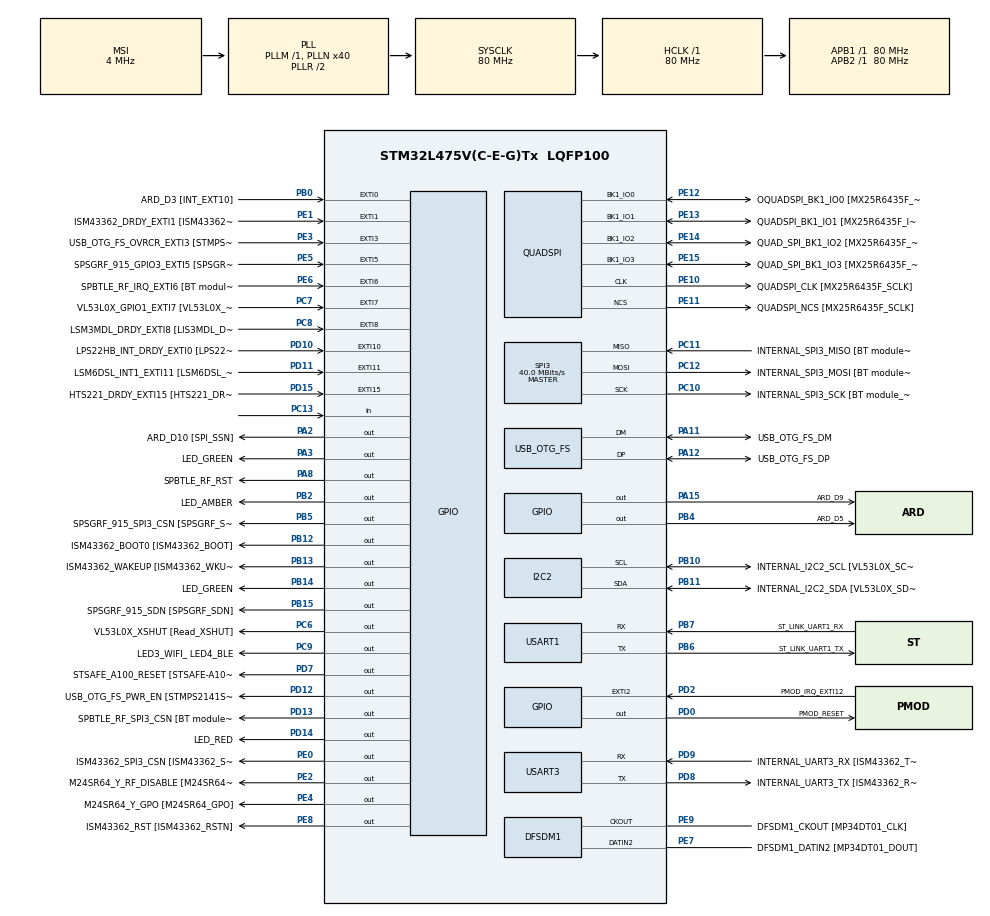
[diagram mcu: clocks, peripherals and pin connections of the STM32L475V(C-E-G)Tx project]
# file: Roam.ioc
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Mcu.Family=STM32L4
Mcu.Name=STM32L475V(C-E-G)Tx
Mcu.Package=LQFP100
NVIC.EXTI15_10_IRQn=true\:0\:0\:false\:false\:true\:true\:true\:true
NVIC.EXTI9_5_IRQn=true\:0\:0\:false\:false\:true\:true\:true\:true
NVIC.PriorityGroup=NVIC_PRIORITYGROUP_4
PA0.GPIO_Label=ARD_D1 [UART4_TX]
PA0.Signal=UART4_TX
PA1.GPIO_Label=ARD_D0 [UART4_RX]
PA1.Signal=UART4_RX
PA10.GPIO_Label=USB_OTG_FS_ID
PA10.Signal=USB_OTG_FS_ID
PA11.GPIO_Label=USB_OTG_FS_DM
PA11.Mode=Device_Only
PA11.Signal=USB_OTG_FS_DM
PA12.GPIO_Label=USB_OTG_FS_DP
PA12.Mode=Device_Only
PA12.Signal=USB_OTG_FS_DP
PA13\ (JTMS-SWDIO).GPIO_Label=SYS_JTMS_SWDIO
PA13\ (JTMS-SWDIO).Mode=Serial_Wire
PA13\ (JTMS-SWDIO).Signal=SYS_JTMS-SWDIO
PA14\ (JTCK-SWCLK).GPIO_Label=SYS_JTCK_SWCLK
PA14\ (JTCK-SWCLK).Mode=Serial_Wire
PA14\ (JTCK-SWCLK).Signal=SYS_JTCK-SWCLK
PA15\ (JTDI).GPIO_Label=ARD_D9
PA15\ (JTDI).Signal=GPIO_Output
PA2.GPIO_Label=ARD_D10 [SPI_SSN]
PA2.Signal=GPIO_Output
PA3.GPIO_Label=LED_GREEN
PA3.Signal=GPIO_Output
PA4.GPIO_Label=ARD_D7
PA4.Signal=ADCx_IN9
PA5.GPIO_Label=ARD_D13 [SPI1_SCK]
PA5.Signal=SPI1_SCK
PA6.GPIO_Label=ARD_D12 [SPI1_MISO]
PA6.Signal=SPI1_MISO
PA7.GPIO_Label=ARD_D11 [SPI1_MOSI]
PA7.Signal=SPI1_MOSI
PA8.GPIO_Label=SPBTLE_RF_RST
PA8.Signal=GPIO_Output
PA9.GPIO_Label=USB_OTG_FS_VBUS [STMPS2141STR_OUT]
PA9.Signal=USB_OTG_FS_VBUS
PB0.GPIO_Label=ARD_D3 [INT_EXT10]
PB0.Signal=GPXTI0
PB1.GPIO_Label=ARD_D6 [ADC1_IN6]
PB1.Signal=ADCx_IN16
PB10.GPIO_Label=INTERNAL_I2C2_SCL [VL53L0X_SCL]
PB10.GPIO_Pu=GPIO_PULLUP
PB10.Mode=I2C
PB10.Signal=I2C2_SCL
PB11.GPIO_Label=INTERNAL_I2C2_SDA [VL53L0X_SDA]
PB11.GPIO_Pu=GPIO_PULLUP
PB11.Mode=I2C
PB11.Signal=I2C2_SDA
PB12.GPIO_Label=ISM43362_BOOT0 [ISM43362_BOOT]
PB12.Signal=GPIO_Output
PB13.GPIO_Label=ISM43362_WAKEUP [ISM43362_WKUP]
PB13.Signal=GPIO_Output
PB14.GPIO_Label=LED_GREEN
PB14.Signal=GPIO_Output
PB15.GPIO_Label=SPSGRF_915_SDN [SPSGRF_SDN]
PB15.Signal=GPIO_Output
PB2.GPIO_Label=LED_AMBER
PB2.Signal=GPIO_Output
PB3\ (JTDO-TRACESWO).GPIO_Label=SYS_JTD0_SWO
PB3\ (JTDO-TRACESWO).Signal=SYS_JTDO-SWO
PB4\ (NJTRST).GPIO_Label=ARD_D5
PB4\ (NJTRST).Signal=GPIO_Output
PB5.GPIO_Label=SPSGRF_915_SPI3_CSN [SPSGRF_SPI_CS]
PB5.PinState=GPIO_PIN_SET
PB5.Signal=GPIO_Output
PB6.GPIO_Label=ST_LINK_UART1_TX
PB6.Mode=Asynchronous
PB6.Signal=USART1_TX
PB7.GPIO_Label=ST_LINK_UART1_RX
PB7.Mode=Asynchronous
PB7.Signal=USART1_RX
PB8.GPIO_Label=ARD_D15 [I2C1_SCL]
PB8.Signal=I2C1_SCL
PB9.GPIO_Label=ARD_D14 [I2C1_SDA]
PB9.Signal=I2C1_SDA
PC0.GPIO_Label=ARD_A5 [ADC]
PC0.Signal=ADCx_IN1
PC1.GPIO_Label=ARD_A4 [ADC]
PC1.Signal=ADCx_IN2
PC10.GPIO_Label=INTERNAL_SPI3_SCK [BT module_SPI_SCLK] [ISM43362_SCK]
PC10.Mode=Full_Duplex_Master
PC10.Signal=SPI3_SCK
PC11.GPIO_Label=INTERNAL_SPI3_MISO [BT module_SPI_MISO] [ISM43362_MISO]
PC11.Mode=Full_Duplex_Master
PC11.Signal=SPI3_MISO
PC12.GPIO_Label=INTERNAL_SPI3_MOSI [BT module_SPI_MOSI] [ISM43362_MOSI]
PC12.Mode=Full_Duplex_Master
PC12.Signal=SPI3_MOSI
PC13.Signal=GPIO_Input
PC14-OSC32_IN\ (PC14).Mode=LSE-External-Oscillator
PC14-OSC32_IN\ (PC14).Signal=RCC_OSC32_IN
PC15-OSC32_OUT\ (PC15).Mode=LSE-External-Oscillator
PC15-OSC32_OUT\ (PC15).Signal=RCC_OSC32_OUT
PC2.GPIO_Label=ARD_A3 [ADC]
PC2.Signal=ADCx_IN3
PC3.GPIO_Label=ARD_A2 [ADC]
PC3.Signal=ADCx_IN4
PC4.GPIO_Label=ARD_A1 [ADC]
PC4.Signal=ADCx_IN13
PC5.GPIO_Label=ARD_A0 [ADC]
PC5.Signal=ADCx_IN14
PC6.GPIO_Label=VL53L0X_XSHUT [Read_XSHUT]
PC6.Signal=GPIO_Output
PC7.GPIO_Label=VL53L0X_GPIO1_EXTI7 [VL53L0X_GPIO1]
PC7.Signal=GPXTI7
PC8.GPIO_Label=LSM3MDL_DRDY_EXTI8 [LIS3MDL_DRDY]
PC8.Signal=GPXTI8
PC9.GPIO_Label=LED3_WIFI_ LED4_BLE
PC9.Signal=GPIO_Output
PD0.GPIO_Label=PMOD_RESET
PD0.Signal=GPIO_Output
PD1.GPIO_Label=PMOD_SPI2_SCK
PD1.Signal=SPI2_SCK
PD10.GPIO_Label=LPS22HB_INT_DRDY_EXTI0 [LPS22HB_INT_DRDY] 
PD10.Signal=GPXTI10
PD11.GPIO_Label=LSM6DSL_INT1_EXTI11 [LSM6DSL_INT1]
PD11.Signal=GPXTI11
PD12.GPIO_Label=USB_OTG_FS_PWR_EN [STMPS2141STR_EN]
PD12.Signal=GPIO_Output
PD13.GPIO_Label=SPBTLE_RF_SPI3_CSN [BT module_SPI_CS]
PD13.PinState=GPIO_PIN_SET
PD13.Signal=GPIO_Output
PD14.GPIO_Label=LED_RED
PD14.Signal=GPIO_Output
PD15.GPIO_Label=HTS221_DRDY_EXTI15 [HTS221_DRDY]
PD15.Signal=GPXTI15
PD2.GPIO_Label=PMOD_IRQ_EXTI12
PD2.Signal=GPXTI2
PD3.GPIO_Label=PMOD_UART2_CTS
PD3.Signal=USART2_CTS
PD4.GPIO_Label=PMOD_UART2_RTS
PD4.Signal=USART2_RTS
PD5.GPIO_Label=PMOD_UART2_TX
PD5.Signal=USART2_TX
PD6.GPIO_Label=PMOD_UART2_RX
PD6.Signal=USART2_RX
PD7.GPIO_Label=STSAFE_A100_RESET [STSAFE-A100_RESET]
PD7.Signal=GPIO_Output
PD8.GPIO_Label=INTERNAL_UART3_TX [ISM43362_RX]
PD8.Mode=Asynchronous
PD8.Signal=USART3_TX
PD9.GPIO_Label=INTERNAL_UART3_RX [ISM43362_TX]
PD9.Mode=Asynchronous
PD9.Signal=USART3_RX
PE0.GPIO_Label=ISM43362_SPI3_CSN [ISM43362_SSN]
PE0.PinState=GPIO_PIN_SET
PE0.Signal=GPIO_Output
PE1.GPIO_Label=ISM43362_DRDY_EXTI1 [ISM43362_DATARDY]
PE1.Signal=GPXTI1
PE10.GPIO_Label=QUADSPI_CLK [MX25R6435F_SCLK]
PE10.Mode=Single Bank
PE10.Signal=QUADSPI_CLK
PE11.GPIO_Label=QUADSPI_NCS [MX25R6435F_SCLK]
PE11.Mode=Single Bank
PE11.Signal=QUADSPI_NCS
PE12.GPIO_Label=OQUADSPI_BK1_IO0 [MX25R6435F_IO0]
PE12.Mode=Single Bank
PE12.Signal=QUADSPI_BK1_IO0
PE13.GPIO_Label=QUADSPI_BK1_IO1 [MX25R6435F_IO1]
PE13.Mode=Single Bank
PE13.Signal=QUADSPI_BK1_IO1
PE14.GPIO_Label=QUAD_SPI_BK1_IO2 [MX25R6435F_IO2]
PE14.Mode=Single Bank
PE14.Signal=QUADSPI_BK1_IO2
PE15.GPIO_Label=QUAD_SPI_BK1_IO3 [MX25R6435F_IO3]
PE15.Mode=Single Bank
PE15.Signal=QUADSPI_BK1_IO3
PE2.GPIO_Label=M24SR64_Y_RF_DISABLE [M24SR64_RFDIS]
PE2.Signal=GPIO_Output
PE3.GPIO_Label=USB_OTG_FS_OVRCR_EXTI3 [STMPS2141STR_FAULT]
PE3.Signal=GPXTI3
PE4.GPIO_Label=M24SR64_Y_GPO [M24SR64_GPO]
PE4.Signal=GPIO_Output
PE5.GPIO_Label=SPSGRF_915_GPIO3_EXTI5 [SPSGRF_GPIO_3]
PE5.Signal=GPXTI5
PE6.GPIO_Label=SPBTLE_RF_IRQ_EXTI6 [BT module_SPI_IRQ]
PE6.Signal=GPXTI6
PE7.GPIO_Label=DFSDM1_DATIN2 [MP34DT01_DOUT]
PE7.Signal=S_DATAIN2DFSDM1
PE8.GPIO_Label=ISM43362_RST [ISM43362_RSTN]
PE8.Signal=GPIO_Output
PE9.GPIO_Label=DFSDM1_CKOUT [MP34DT01_CLK]
PE9.Signal=S_CKOUTDFSDM1
ProjectManager.HeapSize=0x200
ProjectManager.StackSize=0x400
ProjectManager.TargetToolchain=STM32CubeIDE
QUADSPI.ClockPrescaler=2
QUADSPI.FifoThreshold=4
QUADSPI.FlashSize=23
QUADSPI.SampleShifting=QSPI_SAMPLE_SHIFTING_HALFCYCLE
RCC.ADCFreq_Value=48000000
RCC.AHBFreq_Value=80000000
RCC.APB1Freq_Value=80000000
RCC.APB1TimFreq_Value=80000000
RCC.APB2Freq_Value=80000000
RCC.APB2TimFreq_Value=80000000
RCC.CortexFreq_Value=80000000
RCC.HCLKFreq_Value=80000000
RCC.HSE_VALUE=8000000
RCC.HSI_VALUE=16000000
RCC.MSI_VALUE=4000000
RCC.PLLN=40
RCC.PLLSAI1N=24
RCC.SYSCLKFreq_VALUE=80000000
RCC.SYSCLKSource=RCC_SYSCLKSOURCE_PLLCLK
RCC.USBFreq_Value=48000000
RCC.VCOOutputFreq_Value=160000000
SH.ADCx_IN1.0=ADC1_IN1
SH.ADCx_IN13.0=ADC1_IN13
SH.ADCx_IN14.0=ADC1_IN14
SH.ADCx_IN16.0=ADC1_IN16
SH.ADCx_IN2.0=ADC1_IN2
SH.ADCx_IN3.0=ADC1_IN3
SH.ADCx_IN4.0=ADC1_IN4
SH.ADCx_IN9.0=ADC1_IN9
SH.S_CKOUTDFSDM1.0=DFSDM1_CKOUT,CKOUT
SH.S_CKOUTDFSDM1.1=DFSDM1_CKOUT,PDM_SPI_Input_from_ch12_and_Internal_Clock
SH.S_DATAIN2DFSDM1.0=DFSDM1_DATIN2,PDM_SPI_Input_from_ch12_and_Internal_Clock
SPI3.CalculateBaudRate=40.0 MBits/s
SPI3.Direction=SPI_DIRECTION_2LINES
SPI3.Mode=SPI_MODE_MASTER
SPI3.VirtualType=VM_MASTER
USART1.VirtualMode-Asynchronous=VM_ASYNC
USART3.VirtualMode-Asynchronous=VM_ASYNC
USB_OTG_FS.VirtualMode=Device_Only
board=B-L475E-IOT01A1

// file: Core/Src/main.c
/* USER CODE BEGIN Header */
/**
  ******************************************************************************
  * @file           : main.c
  * @brief          : Main program body
  ******************************************************************************
  * @attention
  *
  * Copyright (c) 2026 STMicroelectronics.
  * All rights reserved.
  *
  * This software is licensed under terms that can be found in the LICENSE file
  * in the root directory of this software component.
  * If no LICENSE file comes with this software, it is provided AS-IS.
  *
  ******************************************************************************
  */
/* USER CODE END Header */
#include "main.h"

/* USER CODE BEGIN Includes */
#include "uart_log.h"
#include "led_status.h"
#include "button.h"
#include "sys_fsm.h"
/* USER CODE END Includes */

DFSDM_Channel_HandleTypeDef hdfsdm1_channel1;

I2C_HandleTypeDef hi2c2;

QSPI_HandleTypeDef hqspi;

SPI_HandleTypeDef hspi3;

UART_HandleTypeDef huart1;
UART_HandleTypeDef huart3;

PCD_HandleTypeDef hpcd_USB_OTG_FS;

void SystemClock_Config(void);
static void MX_GPIO_Init(void);
static void MX_DFSDM1_Init(void);
static void MX_I2C2_Init(void);
static void MX_QUADSPI_Init(void);
static void MX_SPI3_Init(void);
static void MX_USART1_UART_Init(void);
static void MX_USART3_UART_Init(void);
static void MX_USB_OTG_FS_PCD_Init(void);

int main(void)
{

  /* USER CODE BEGIN 1 */
  /* Configure GPIO LED pins */
  led_gpio_t green = { .port = LED_GREEN_GPIO_Port, .pin = LED_GREEN_Pin };
  led_gpio_t amber = { .port = LED_AMBER_GPIO_Port, .pin = LED_AMBER_Pin };
  led_gpio_t red   = { .port = LED_RED_GPIO_Port,   .pin = LED_RED_Pin   };
  /* USER CODE END 1 */

  /* MCU Configuration--------------------------------------------------------*/

  /* Reset of all peripherals, Initializes the Flash interface and the Systick. */
  HAL_Init();

  /* Configure the system clock */
  SystemClock_Config();

  /* Initialize all configured peripherals */
  MX_GPIO_Init();
  MX_DFSDM1_Init();
  MX_I2C2_Init();
  MX_QUADSPI_Init();
  MX_SPI3_Init();
  MX_USART1_UART_Init();
  MX_USART3_UART_Init();
  MX_USB_OTG_FS_PCD_Init();
  /* USER CODE BEGIN 2 */
  uart_log_init(&huart1);
  led_status_init(&green, &amber, &red);
  button_init(GPIOC, GPIO_PIN_13);
  sys_fsm_init(HAL_GetTick());
  /* USER CODE END 2 */

  /* Infinite loop */
  /* USER CODE BEGIN WHILE */
  while (1)
  {
    uint32_t now = HAL_GetTick();

    button_update(now);
    sys_fsm_update(now);
    led_status_update(now);
    /* USER CODE END WHILE */

  }
}

void SystemClock_Config(void)
{
  RCC_OscInitTypeDef RCC_OscInitStruct = {0};
  RCC_ClkInitTypeDef RCC_ClkInitStruct = {0};

  /** Configure the main internal regulator output voltage
  */
  if (HAL_PWREx_ControlVoltageScaling(PWR_REGULATOR_VOLTAGE_SCALE1) != HAL_OK)
  {
    Error_Handler();
  }

  /** Configure LSE Drive Capability
  */
  HAL_PWR_EnableBkUpAccess();
  __HAL_RCC_LSEDRIVE_CONFIG(RCC_LSEDRIVE_LOW);

  /** Initializes the RCC Oscillators according to the specified parameters
  * in the RCC_OscInitTypeDef structure.
  */
  RCC_OscInitStruct.OscillatorType = RCC_OSCILLATORTYPE_LSE|RCC_OSCILLATORTYPE_MSI;
  RCC_OscInitStruct.LSEState = RCC_LSE_ON;
  RCC_OscInitStruct.MSIState = RCC_MSI_ON;
  RCC_OscInitStruct.MSICalibrationValue = 0;
  RCC_OscInitStruct.MSIClockRange = RCC_MSIRANGE_6;
  RCC_OscInitStruct.PLL.PLLState = RCC_PLL_ON;
  RCC_OscInitStruct.PLL.PLLSource = RCC_PLLSOURCE_MSI;
  RCC_OscInitStruct.PLL.PLLM = 1;
  RCC_OscInitStruct.PLL.PLLN = 40;
  RCC_OscInitStruct.PLL.PLLP = RCC_PLLP_DIV7;
  RCC_OscInitStruct.PLL.PLLQ = RCC_PLLQ_DIV2;
  RCC_OscInitStruct.PLL.PLLR = RCC_PLLR_DIV2;
  if (HAL_RCC_OscConfig(&RCC_OscInitStruct) != HAL_OK)
  {
    Error_Handler();
  }

  /** Initializes the CPU, AHB and APB buses clocks
  */
  RCC_ClkInitStruct.ClockType = RCC_CLOCKTYPE_HCLK|RCC_CLOCKTYPE_SYSCLK
                              |RCC_CLOCKTYPE_PCLK1|RCC_CLOCKTYPE_PCLK2;
  RCC_ClkInitStruct.SYSCLKSource = RCC_SYSCLKSOURCE_PLLCLK;
  RCC_ClkInitStruct.AHBCLKDivider = RCC_SYSCLK_DIV1;
  RCC_ClkInitStruct.APB1CLKDivider = RCC_HCLK_DIV1;
  RCC_ClkInitStruct.APB2CLKDivider = RCC_HCLK_DIV1;

  if (HAL_RCC_ClockConfig(&RCC_ClkInitStruct, FLASH_LATENCY_4) != HAL_OK)
  {
    Error_Handler();
  }

  /** Enable MSI Auto calibration
  */
  HAL_RCCEx_EnableMSIPLLMode();
}

static void MX_DFSDM1_Init(void)
{

  hdfsdm1_channel1.Instance = DFSDM1_Channel1;
  hdfsdm1_channel1.Init.OutputClock.Activation = ENABLE;
  hdfsdm1_channel1.Init.OutputClock.Selection = DFSDM_CHANNEL_OUTPUT_CLOCK_SYSTEM;
  hdfsdm1_channel1.Init.OutputClock.Divider = 2;
  hdfsdm1_channel1.Init.Input.Multiplexer = DFSDM_CHANNEL_EXTERNAL_INPUTS;
  hdfsdm1_channel1.Init.Input.DataPacking = DFSDM_CHANNEL_STANDARD_MODE;
  hdfsdm1_channel1.Init.Input.Pins = DFSDM_CHANNEL_FOLLOWING_CHANNEL_PINS;
  hdfsdm1_channel1.Init.SerialInterface.Type = DFSDM_CHANNEL_SPI_RISING;
  hdfsdm1_channel1.Init.SerialInterface.SpiClock = DFSDM_CHANNEL_SPI_CLOCK_INTERNAL;
  hdfsdm1_channel1.Init.Awd.FilterOrder = DFSDM_CHANNEL_FASTSINC_ORDER;
  hdfsdm1_channel1.Init.Awd.Oversampling = 1;
  hdfsdm1_channel1.Init.Offset = 0;
  hdfsdm1_channel1.Init.RightBitShift = 0x00;
  if (HAL_DFSDM_ChannelInit(&hdfsdm1_channel1) != HAL_OK)
  {
    Error_Handler();
  }

}

static void MX_I2C2_Init(void)
{

  hi2c2.Instance = I2C2;
  hi2c2.Init.Timing = 0x00000E14;
  hi2c2.Init.OwnAddress1 = 0;
  hi2c2.Init.AddressingMode = I2C_ADDRESSINGMODE_7BIT;
  hi2c2.Init.DualAddressMode = I2C_DUALADDRESS_DISABLE;
  hi2c2.Init.OwnAddress2 = 0;
  hi2c2.Init.OwnAddress2Masks = I2C_OA2_NOMASK;
  hi2c2.Init.GeneralCallMode = I2C_GENERALCALL_DISABLE;
  hi2c2.Init.NoStretchMode = I2C_NOSTRETCH_DISABLE;
  if (HAL_I2C_Init(&hi2c2) != HAL_OK)
  {
    Error_Handler();
  }

  /** Configure Analogue filter
  */
  if (HAL_I2CEx_ConfigAnalogFilter(&hi2c2, I2C_ANALOGFILTER_ENABLE) != HAL_OK)
  {
    Error_Handler();
  }

  /** Configure Digital filter
  */
  if (HAL_I2CEx_ConfigDigitalFilter(&hi2c2, 0) != HAL_OK)
  {
    Error_Handler();
  }

}

static void MX_QUADSPI_Init(void)
{

  /* QUADSPI parameter configuration*/
  hqspi.Instance = QUADSPI;
  hqspi.Init.ClockPrescaler = 2;
  hqspi.Init.FifoThreshold = 4;
  hqspi.Init.SampleShifting = QSPI_SAMPLE_SHIFTING_HALFCYCLE;
  hqspi.Init.FlashSize = 23;
  hqspi.Init.ChipSelectHighTime = QSPI_CS_HIGH_TIME_1_CYCLE;
  hqspi.Init.ClockMode = QSPI_CLOCK_MODE_0;
  if (HAL_QSPI_Init(&hqspi) != HAL_OK)
  {
    Error_Handler();
  }

}

static void MX_SPI3_Init(void)
{

  /* SPI3 parameter configuration*/
  hspi3.Instance = SPI3;
  hspi3.Init.Mode = SPI_MODE_MASTER;
  hspi3.Init.Direction = SPI_DIRECTION_2LINES;
  hspi3.Init.DataSize = SPI_DATASIZE_4BIT;
  hspi3.Init.CLKPolarity = SPI_POLARITY_LOW;
  hspi3.Init.CLKPhase = SPI_PHASE_1EDGE;
  hspi3.Init.NSS = SPI_NSS_SOFT;
  hspi3.Init.BaudRatePrescaler = SPI_BAUDRATEPRESCALER_2;
  hspi3.Init.FirstBit = SPI_FIRSTBIT_MSB;
  hspi3.Init.TIMode = SPI_TIMODE_DISABLE;
  hspi3.Init.CRCCalculation = SPI_CRCCALCULATION_DISABLE;
  hspi3.Init.CRCPolynomial = 7;
  hspi3.Init.CRCLength = SPI_CRC_LENGTH_DATASIZE;
  hspi3.Init.NSSPMode = SPI_NSS_PULSE_ENABLE;
  if (HAL_SPI_Init(&hspi3) != HAL_OK)
  {
    Error_Handler();
  }

}

static void MX_USART1_UART_Init(void)
{

  huart1.Instance = USART1;
  huart1.Init.BaudRate = 115200;
  huart1.Init.WordLength = UART_WORDLENGTH_8B;
  huart1.Init.StopBits = UART_STOPBITS_1;
  huart1.Init.Parity = UART_PARITY_NONE;
  huart1.Init.Mode = UART_MODE_TX_RX;
  huart1.Init.HwFlowCtl = UART_HWCONTROL_NONE;
  huart1.Init.OverSampling = UART_OVERSAMPLING_16;
  huart1.Init.OneBitSampling = UART_ONE_BIT_SAMPLE_DISABLE;
  huart1.AdvancedInit.AdvFeatureInit = UART_ADVFEATURE_NO_INIT;
  if (HAL_UART_Init(&huart1) != HAL_OK)
  {
    Error_Handler();
  }

}

static void MX_USART3_UART_Init(void)
{

  huart3.Instance = USART3;
  huart3.Init.BaudRate = 115200;
  huart3.Init.WordLength = UART_WORDLENGTH_8B;
  huart3.Init.StopBits = UART_STOPBITS_1;
  huart3.Init.Parity = UART_PARITY_NONE;
  huart3.Init.Mode = UART_MODE_TX_RX;
  huart3.Init.HwFlowCtl = UART_HWCONTROL_NONE;
  huart3.Init.OverSampling = UART_OVERSAMPLING_16;
  huart3.Init.OneBitSampling = UART_ONE_BIT_SAMPLE_DISABLE;
  huart3.AdvancedInit.AdvFeatureInit = UART_ADVFEATURE_NO_INIT;
  if (HAL_UART_Init(&huart3) != HAL_OK)
  {
    Error_Handler();
  }

}

static void MX_USB_OTG_FS_PCD_Init(void)
{

  hpcd_USB_OTG_FS.Instance = USB_OTG_FS;
  hpcd_USB_OTG_FS.Init.dev_endpoints = 6;
  hpcd_USB_OTG_FS.Init.speed = PCD_SPEED_FULL;
  hpcd_USB_OTG_FS.Init.phy_itface = PCD_PHY_EMBEDDED;
  hpcd_USB_OTG_FS.Init.Sof_enable = DISABLE;
  hpcd_USB_OTG_FS.Init.low_power_enable = DISABLE;
  hpcd_USB_OTG_FS.Init.lpm_enable = DISABLE;
  hpcd_USB_OTG_FS.Init.battery_charging_enable = DISABLE;
  hpcd_USB_OTG_FS.Init.use_dedicated_ep1 = DISABLE;
  hpcd_USB_OTG_FS.Init.vbus_sensing_enable = DISABLE;
  if (HAL_PCD_Init(&hpcd_USB_OTG_FS) != HAL_OK)
  {
    Error_Handler();
  }

}

static void MX_GPIO_Init(void)
{
  GPIO_InitTypeDef GPIO_InitStruct = {0};

  /* GPIO Ports Clock Enable */
  __HAL_RCC_GPIOE_CLK_ENABLE();
  __HAL_RCC_GPIOC_CLK_ENABLE();
  __HAL_RCC_GPIOA_CLK_ENABLE();
  __HAL_RCC_GPIOB_CLK_ENABLE();
  __HAL_RCC_GPIOD_CLK_ENABLE();

  /*Configure GPIO pin Output Level */
  HAL_GPIO_WritePin(GPIOE, M24SR64_Y_RF_DISABLE_Pin|M24SR64_Y_GPO_Pin|ISM43362_RST_Pin, GPIO_PIN_RESET);

  /*Configure GPIO pin Output Level */
  HAL_GPIO_WritePin(GPIOA, ARD_D10_Pin|LED_GREEN_Pin|SPBTLE_RF_RST_Pin|ARD_D9_Pin, GPIO_PIN_RESET);

  /*Configure GPIO pin Output Level */
  HAL_GPIO_WritePin(GPIOB, LED_AMBER_Pin|ISM43362_BOOT0_Pin|ISM43362_WAKEUP_Pin|LED_GREENB14_Pin
                          |SPSGRF_915_SDN_Pin|ARD_D5_Pin, GPIO_PIN_RESET);

  /*Configure GPIO pin Output Level */
  HAL_GPIO_WritePin(GPIOD, USB_OTG_FS_PWR_EN_Pin|LED_RED_Pin|PMOD_RESET_Pin|STSAFE_A100_RESET_Pin, GPIO_PIN_RESET);

  /*Configure GPIO pin Output Level */
  HAL_GPIO_WritePin(SPBTLE_RF_SPI3_CSN_GPIO_Port, SPBTLE_RF_SPI3_CSN_Pin, GPIO_PIN_SET);

  /*Configure GPIO pin Output Level */
  HAL_GPIO_WritePin(GPIOC, VL53L0X_XSHUT_Pin|LED3_WIFI__LED4_BLE_Pin, GPIO_PIN_RESET);

  /*Configure GPIO pin Output Level */
  HAL_GPIO_WritePin(SPSGRF_915_SPI3_CSN_GPIO_Port, SPSGRF_915_SPI3_CSN_Pin, GPIO_PIN_SET);

  /*Configure GPIO pin Output Level */
  HAL_GPIO_WritePin(ISM43362_SPI3_CSN_GPIO_Port, ISM43362_SPI3_CSN_Pin, GPIO_PIN_SET);

  /*Configure GPIO pins : M24SR64_Y_RF_DISABLE_Pin M24SR64_Y_GPO_Pin ISM43362_RST_Pin ISM43362_SPI3_CSN_Pin */
  GPIO_InitStruct.Pin = M24SR64_Y_RF_DISABLE_Pin|M24SR64_Y_GPO_Pin|ISM43362_RST_Pin|ISM43362_SPI3_CSN_Pin;
  GPIO_InitStruct.Mode = GPIO_MODE_OUTPUT_PP;
  GPIO_InitStruct.Pull = GPIO_NOPULL;
  GPIO_InitStruct.Speed = GPIO_SPEED_FREQ_LOW;
  HAL_GPIO_Init(GPIOE, &GPIO_InitStruct);

  /*Configure GPIO pins : USB_OTG_FS_OVRCR_EXTI3_Pin SPSGRF_915_GPIO3_EXTI5_Pin SPBTLE_RF_IRQ_EXTI6_Pin ISM43362_DRDY_EXTI1_Pin */
  GPIO_InitStruct.Pin = USB_OTG_FS_OVRCR_EXTI3_Pin|SPSGRF_915_GPIO3_EXTI5_Pin|SPBTLE_RF_IRQ_EXTI6_Pin|ISM43362_DRDY_EXTI1_Pin;
  GPIO_InitStruct.Mode = GPIO_MODE_IT_RISING;
  GPIO_InitStruct.Pull = GPIO_NOPULL;
  HAL_GPIO_Init(GPIOE, &GPIO_InitStruct);

  /*Configure GPIO pin : PC13 */
  GPIO_InitStruct.Pin = GPIO_PIN_13;
  GPIO_InitStruct.Mode = GPIO_MODE_INPUT;
  GPIO_InitStruct.Pull = GPIO_NOPULL;
  HAL_GPIO_Init(GPIOC, &GPIO_InitStruct);

  /*Configure GPIO pins : ARD_A5_Pin ARD_A4_Pin ARD_A3_Pin ARD_A2_Pin
                           ARD_A1_Pin ARD_A0_Pin */
  GPIO_InitStruct.Pin = ARD_A5_Pin|ARD_A4_Pin|ARD_A3_Pin|ARD_A2_Pin
                          |ARD_A1_Pin|ARD_A0_Pin;
  GPIO_InitStruct.Mode = GPIO_MODE_ANALOG_ADC_CONTROL;
  GPIO_InitStruct.Pull = GPIO_NOPULL;
  HAL_GPIO_Init(GPIOC, &GPIO_InitStruct);

  /*Configure GPIO pins : ARD_D1_Pin ARD_D0_Pin */
  GPIO_InitStruct.Pin = ARD_D1_Pin|ARD_D0_Pin;
  GPIO_InitStruct.Mode = GPIO_MODE_AF_PP;
  GPIO_InitStruct.Pull = GPIO_NOPULL;
  GPIO_InitStruct.Speed = GPIO_SPEED_FREQ_VERY_HIGH;
  GPIO_InitStruct.Alternate = GPIO_AF8_UART4;
  HAL_GPIO_Init(GPIOA, &GPIO_InitStruct);

  /*Configure GPIO pins : ARD_D10_Pin LED_GREEN_Pin SPBTLE_RF_RST_Pin ARD_D9_Pin */
  GPIO_InitStruct.Pin = ARD_D10_Pin|LED_GREEN_Pin|SPBTLE_RF_RST_Pin|ARD_D9_Pin;
  GPIO_InitStruct.Mode = GPIO_MODE_OUTPUT_PP;
  GPIO_InitStruct.Pull = GPIO_NOPULL;
  GPIO_InitStruct.Speed = GPIO_SPEED_FREQ_LOW;
  HAL_GPIO_Init(GPIOA, &GPIO_InitStruct);

  /*Configure GPIO pin : ARD_D7_Pin */
  GPIO_InitStruct.Pin = ARD_D7_Pin;
  GPIO_InitStruct.Mode = GPIO_MODE_ANALOG_ADC_CONTROL;
  GPIO_InitStruct.Pull = GPIO_NOPULL;
  HAL_GPIO_Init(ARD_D7_GPIO_Port, &GPIO_InitStruct);

  /*Configure GPIO pins : ARD_D13_Pin ARD_D12_Pin ARD_D11_Pin */
  GPIO_InitStruct.Pin = ARD_D13_Pin|ARD_D12_Pin|ARD_D11_Pin;
  GPIO_InitStruct.Mode = GPIO_MODE_AF_PP;
  GPIO_InitStruct.Pull = GPIO_NOPULL;
  GPIO_InitStruct.Speed = GPIO_SPEED_FREQ_VERY_HIGH;
  GPIO_InitStruct.Alternate = GPIO_AF5_SPI1;
  HAL_GPIO_Init(GPIOA, &GPIO_InitStruct);

  /*Configure GPIO pin : ARD_D3_Pin */
  GPIO_InitStruct.Pin = ARD_D3_Pin;
  GPIO_InitStruct.Mode = GPIO_MODE_IT_RISING;
  GPIO_InitStruct.Pull = GPIO_NOPULL;
  HAL_GPIO_Init(ARD_D3_GPIO_Port, &GPIO_InitStruct);

  /*Configure GPIO pin : ARD_D6_Pin */
  GPIO_InitStruct.Pin = ARD_D6_Pin;
  GPIO_InitStruct.Mode = GPIO_MODE_ANALOG_ADC_CONTROL;
  GPIO_InitStruct.Pull = GPIO_NOPULL;
  HAL_GPIO_Init(ARD_D6_GPIO_Port, &GPIO_InitStruct);

  /*Configure GPIO pins : LED_AMBER_Pin ISM43362_BOOT0_Pin ISM43362_WAKEUP_Pin LED_GREENB14_Pin
                           SPSGRF_915_SDN_Pin ARD_D5_Pin SPSGRF_915_SPI3_CSN_Pin */
  GPIO_InitStruct.Pin = LED_AMBER_Pin|ISM43362_BOOT0_Pin|ISM43362_WAKEUP_Pin|LED_GREENB14_Pin
                          |SPSGRF_915_SDN_Pin|ARD_D5_Pin|SPSGRF_915_SPI3_CSN_Pin;
  GPIO_InitStruct.Mode = GPIO_MODE_OUTPUT_PP;
  GPIO_InitStruct.Pull = GPIO_NOPULL;
  GPIO_InitStruct.Speed = GPIO_SPEED_FREQ_LOW;
  HAL_GPIO_Init(GPIOB, &GPIO_InitStruct);

  /*Configure GPIO pins : LPS22HB_INT_DRDY_EXTI0_Pin LSM6DSL_INT1_EXTI11_Pin HTS221_DRDY_EXTI15_Pin PMOD_IRQ_EXTI12_Pin */
  GPIO_InitStruct.Pin = LPS22HB_INT_DRDY_EXTI0_Pin|LSM6DSL_INT1_EXTI11_Pin|HTS221_DRDY_EXTI15_Pin|PMOD_IRQ_EXTI12_Pin;
  GPIO_InitStruct.Mode = GPIO_MODE_IT_RISING;
  GPIO_InitStruct.Pull = GPIO_NOPULL;
  HAL_GPIO_Init(GPIOD, &GPIO_InitStruct);

  /*Configure GPIO pins : USB_OTG_FS_PWR_EN_Pin SPBTLE_RF_SPI3_CSN_Pin LED_RED_Pin PMOD_RESET_Pin
                           STSAFE_A100_RESET_Pin */
  GPIO_InitStruct.Pin = USB_OTG_FS_PWR_EN_Pin|SPBTLE_RF_SPI3_CSN_Pin|LED_RED_Pin|PMOD_RESET_Pin
                          |STSAFE_A100_RESET_Pin;
  GPIO_InitStruct.Mode = GPIO_MODE_OUTPUT_PP;
  GPIO_InitStruct.Pull = GPIO_NOPULL;
  GPIO_InitStruct.Speed = GPIO_SPEED_FREQ_LOW;
  HAL_GPIO_Init(GPIOD, &GPIO_InitStruct);

  /*Configure GPIO pins : VL53L0X_XSHUT_Pin LED3_WIFI__LED4_BLE_Pin */
  GPIO_InitStruct.Pin = VL53L0X_XSHUT_Pin|LED3_WIFI__LED4_BLE_Pin;
  GPIO_InitStruct.Mode = GPIO_MODE_OUTPUT_PP;
  GPIO_InitStruct.Pull = GPIO_NOPULL;
  GPIO_InitStruct.Speed = GPIO_SPEED_FREQ_LOW;
  HAL_GPIO_Init(GPIOC, &GPIO_InitStruct);

  /*Configure GPIO pins : VL53L0X_GPIO1_EXTI7_Pin LSM3MDL_DRDY_EXTI8_Pin */
  GPIO_InitStruct.Pin = VL53L0X_GPIO1_EXTI7_Pin|LSM3MDL_DRDY_EXTI8_Pin;
  GPIO_InitStruct.Mode = GPIO_MODE_IT_RISING;
  GPIO_InitStruct.Pull = GPIO_NOPULL;
  HAL_GPIO_Init(GPIOC, &GPIO_InitStruct);

  /*Configure GPIO pin : PMOD_SPI2_SCK_Pin */
  GPIO_InitStruct.Pin = PMOD_SPI2_SCK_Pin;
  GPIO_InitStruct.Mode = GPIO_MODE_AF_PP;
  GPIO_InitStruct.Pull = GPIO_NOPULL;
  GPIO_InitStruct.Speed = GPIO_SPEED_FREQ_VERY_HIGH;
  GPIO_InitStruct.Alternate = GPIO_AF5_SPI2;
  HAL_GPIO_Init(PMOD_SPI2_SCK_GPIO_Port, &GPIO_InitStruct);

  /*Configure GPIO pins : PMOD_UART2_CTS_Pin PMOD_UART2_RTS_Pin PMOD_UART2_TX_Pin PMOD_UART2_RX_Pin */
  GPIO_InitStruct.Pin = PMOD_UART2_CTS_Pin|PMOD_UART2_RTS_Pin|PMOD_UART2_TX_Pin|PMOD_UART2_RX_Pin;
  GPIO_InitStruct.Mode = GPIO_MODE_AF_PP;
  GPIO_InitStruct.Pull = GPIO_NOPULL;
  GPIO_InitStruct.Speed = GPIO_SPEED_FREQ_VERY_HIGH;
  GPIO_InitStruct.Alternate = GPIO_AF7_USART2;
  HAL_GPIO_Init(GPIOD, &GPIO_InitStruct);

  /*Configure GPIO pins : ARD_D15_Pin ARD_D14_Pin */
  GPIO_InitStruct.Pin = ARD_D15_Pin|ARD_D14_Pin;
  GPIO_InitStruct.Mode = GPIO_MODE_AF_OD;
  GPIO_InitStruct.Pull = GPIO_NOPULL;
  GPIO_InitStruct.Speed = GPIO_SPEED_FREQ_VERY_HIGH;
  GPIO_InitStruct.Alternate = GPIO_AF4_I2C1;
  HAL_GPIO_Init(GPIOB, &GPIO_InitStruct);

  /* EXTI interrupt init*/
  HAL_NVIC_SetPriority(EXTI9_5_IRQn, 0, 0);
  HAL_NVIC_EnableIRQ(EXTI9_5_IRQn);

  HAL_NVIC_SetPriority(EXTI15_10_IRQn, 0, 0);
  HAL_NVIC_EnableIRQ(EXTI15_10_IRQn);

}

void Error_Handler(void)
{
  __disable_irq();
  while (1)
  {
  }
}
